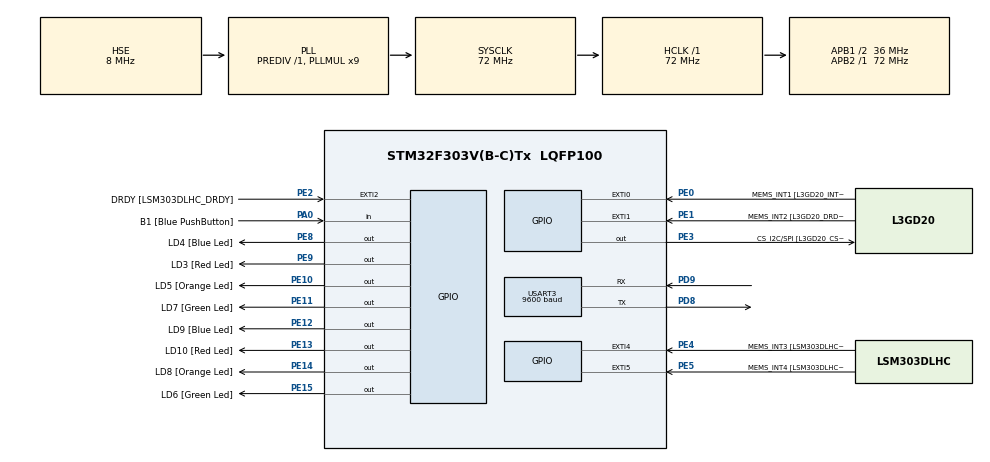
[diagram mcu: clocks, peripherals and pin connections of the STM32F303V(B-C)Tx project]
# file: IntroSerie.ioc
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Mcu.Family=STM32F3
Mcu.Name=STM32F303V(B-C)Tx
Mcu.Package=LQFP100
NVIC.PriorityGroup=NVIC_PRIORITYGROUP_0
PA0.GPIO_Label=B1 [Blue PushButton]
PA0.GPIO_Mode=GPIO_MODE_INPUT
PA0.GPIO_PuPd=GPIO_NOPULL
PA0.Signal=GPIO_Input
PA11.GPIO_Label=DM
PA11.Signal=USB_DM
PA12.GPIO_Label=DP
PA12.Signal=USB_DP
PA13.GPIO_Label=SWDIO
PA13.Signal=SYS_JTMS-SWDIO
PA14.GPIO_Label=SWCLK
PA14.Signal=SYS_JTCK-SWCLK
PA5.GPIO_Label=SPI1_SCK [L3GD20_SCL/SPC]
PA5.GPIO_Mode=GPIO_MODE_AF_PP
PA5.GPIO_PuPd=GPIO_NOPULL
PA5.GPIO_Speed=GPIO_SPEED_FREQ_LOW
PA5.Signal=SPI1_SCK
PA6.GPIO_Label=SPI1_MISO [L3GD20_SA0/SDO]
PA6.GPIO_Mode=GPIO_MODE_AF_PP
PA6.GPIO_PuPd=GPIO_NOPULL
PA6.GPIO_Speed=GPIO_SPEED_FREQ_LOW
PA6.Signal=SPI1_MISO
PA7.GPIO_Label=SPI1_MISO [L3GD20_SDA/SDI/SDO]
PA7.GPIO_Mode=GPIO_MODE_AF_PP
PA7.GPIO_PuPd=GPIO_NOPULL
PA7.GPIO_Speed=GPIO_SPEED_FREQ_LOW
PA7.Signal=SPI1_MOSI
PB3.GPIO_Label=SWO
PB3.Signal=SYS_JTDO-TRACESWO
PB6.GPIO_FM6=__NULL
PB6.GPIO_Label=I2C1_SCL [LSM303DLHC_SCL]
PB6.GPIO_Mode=GPIO_MODE_AF_OD
PB6.GPIO_PuPd=GPIO_NOPULL
PB6.GPIO_Speed=GPIO_SPEED_FREQ_LOW
PB6.Signal=I2C1_SCL
PB7.GPIO_FM7=__NULL
PB7.GPIO_Label=I2C1_SDA [LSM303DLHC_SDA]
PB7.GPIO_Mode=GPIO_MODE_AF_OD
PB7.GPIO_PuPd=GPIO_NOPULL
PB7.GPIO_Speed=GPIO_SPEED_FREQ_LOW
PB7.Signal=I2C1_SDA
PC14-OSC32_IN.GPIO_Label=OSC32_IN
PC14-OSC32_IN.Signal=RCC_OSC32_IN
PC15-OSC32_OUT.GPIO_Label=OSC32_OUT
PC15-OSC32_OUT.Signal=RCC_OSC32_OUT
PD8.Mode=Asynchronous
PD8.Signal=USART3_TX
PD9.Mode=Asynchronous
PD9.Signal=USART3_RX
PE0.GPIO_Label=MEMS_INT1 [L3GD20_INT1]
PE0.GPIO_ModeDefaultEXTI=GPIO_MODE_EVT_RISING
PE0.GPIO_PuPd=GPIO_NOPULL
PE0.Signal=GPXTI0
PE1.GPIO_Label=MEMS_INT2 [L3GD20_DRDY/INT2]
PE1.GPIO_ModeDefaultEXTI=GPIO_MODE_EVT_RISING
PE1.GPIO_PuPd=GPIO_NOPULL
PE1.Signal=GPXTI1
PE10.GPIO_Label=LD5 [Orange Led]
PE10.GPIO_ModeDefaultOutputPP=GPIO_MODE_OUTPUT_PP
PE10.GPIO_PuPd=GPIO_NOPULL
PE10.GPIO_Speed=GPIO_SPEED_FREQ_LOW
PE10.Signal=GPIO_Output
PE11.GPIO_Label=LD7 [Green Led]
PE11.GPIO_ModeDefaultOutputPP=GPIO_MODE_OUTPUT_PP
PE11.GPIO_PuPd=GPIO_NOPULL
PE11.GPIO_Speed=GPIO_SPEED_FREQ_LOW
PE11.Signal=GPIO_Output
PE12.GPIO_Label=LD9 [Blue Led]
PE12.GPIO_ModeDefaultOutputPP=GPIO_MODE_OUTPUT_PP
PE12.GPIO_PuPd=GPIO_NOPULL
PE12.GPIO_Speed=GPIO_SPEED_FREQ_LOW
PE12.Signal=GPIO_Output
PE13.GPIO_Label=LD10 [Red Led]
PE13.GPIO_ModeDefaultOutputPP=GPIO_MODE_OUTPUT_PP
PE13.GPIO_PuPd=GPIO_NOPULL
PE13.GPIO_Speed=GPIO_SPEED_FREQ_LOW
PE13.Signal=GPIO_Output
PE14.GPIO_Label=LD8 [Orange Led]
PE14.GPIO_ModeDefaultOutputPP=GPIO_MODE_OUTPUT_PP
PE14.GPIO_PuPd=GPIO_NOPULL
PE14.GPIO_Speed=GPIO_SPEED_FREQ_LOW
PE14.Signal=GPIO_Output
PE15.GPIO_Label=LD6 [Green Led]
PE15.GPIO_ModeDefaultOutputPP=GPIO_MODE_OUTPUT_PP
PE15.GPIO_PuPd=GPIO_NOPULL
PE15.GPIO_Speed=GPIO_SPEED_FREQ_LOW
PE15.Signal=GPIO_Output
PE2.GPIO_Label=DRDY [LSM303DLHC_DRDY]
PE2.GPIO_ModeDefaultEXTI=GPIO_MODE_EVT_RISING
PE2.GPIO_PuPd=GPIO_NOPULL
PE2.Signal=GPXTI2
PE3.GPIO_Label=CS_I2C/SPI [L3GD20_CS_I2C/SPI]
PE3.GPIO_ModeDefaultOutputPP=GPIO_MODE_OUTPUT_PP
PE3.GPIO_PuPd=GPIO_NOPULL
PE3.GPIO_Speed=GPIO_SPEED_FREQ_LOW
PE3.Signal=GPIO_Output
PE4.GPIO_Label=MEMS_INT3 [LSM303DLHC_INT1]
PE4.GPIO_ModeDefaultEXTI=GPIO_MODE_EVT_RISING
PE4.GPIO_PuPd=GPIO_NOPULL
PE4.Signal=GPXTI4
PE5.GPIO_Label=MEMS_INT4 [LSM303DLHC_INT2]
PE5.GPIO_ModeDefaultEXTI=GPIO_MODE_EVT_RISING
PE5.GPIO_PuPd=GPIO_NOPULL
PE5.Signal=GPXTI5
PE8.GPIO_Label=LD4 [Blue Led]
PE8.GPIO_ModeDefaultOutputPP=GPIO_MODE_OUTPUT_PP
PE8.GPIO_PuPd=GPIO_NOPULL
PE8.GPIO_Speed=GPIO_SPEED_FREQ_LOW
PE8.Signal=GPIO_Output
PE9.GPIO_Label=LD3 [Red Led]
PE9.GPIO_ModeDefaultOutputPP=GPIO_MODE_OUTPUT_PP
PE9.GPIO_PuPd=GPIO_NOPULL
PE9.GPIO_Speed=GPIO_SPEED_FREQ_LOW
PE9.Signal=GPIO_Output
PF0-OSC_IN.Mode=HSE-External-Oscillator
PF0-OSC_IN.Signal=RCC_OSC_IN
PF1-OSC_OUT.GPIO_Label=OSC_OUT
PF1-OSC_OUT.Mode=HSE-External-Oscillator
PF1-OSC_OUT.Signal=RCC_OSC_OUT
ProjectManager.HeapSize=0x200
ProjectManager.StackSize=0x400
ProjectManager.TargetToolchain=EWARM
RCC.AHBFreq_Value=72000000
RCC.APB1CLKDivider=RCC_HCLK_DIV2
RCC.APB1Freq_Value=36000000
RCC.APB1TimFreq_Value=72000000
RCC.APB2Freq_Value=72000000
RCC.APB2TimFreq_Value=72000000
RCC.CortexFreq_Value=72000000
RCC.HCLKFreq_Value=72000000
RCC.HSE_VALUE=8000000
RCC.HSIState=RCC_HSI_ON
RCC.HSI_VALUE=8000000
RCC.LSE_VALUE=32768
RCC.PLLMUL=RCC_PLL_MUL9
RCC.PLLSourceVirtual=RCC_PLLSOURCE_HSE
RCC.SYSCLKFreq_VALUE=72000000
RCC.SYSCLKSourceVirtual=RCC_SYSCLKSOURCE_PLLCLK
RCC.USBFreq_Value=72000000
USART3.BaudRate=9600
board=STM32F3DISCOVERY

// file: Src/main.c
/**
  ******************************************************************************
  * File Name          : main.c
  * Description        : Main program body
  ******************************************************************************
  *
  * COPYRIGHT(c) 2017 STMicroelectronics
  *
  * Redistribution and use in source and binary forms, with or without modification,
  * are permitted provided that the following conditions are met:
  *   1. Redistributions of source code must retain the above copyright notice,
  *      this list of conditions and the following disclaimer.
  *   2. Redistributions in binary form must reproduce the above copyright notice,
  *      this list of conditions and the following disclaimer in the documentation
  *      and/or other materials provided with the distribution.
  *   3. Neither the name of STMicroelectronics nor the names of its contributors
  *      may be used to endorse or promote products derived from this software
  *      without specific prior written permission.
  *
  * THIS SOFTWARE IS PROVIDED BY THE COPYRIGHT HOLDERS AND CONTRIBUTORS "AS IS"
  * AND ANY EXPRESS OR IMPLIED WARRANTIES, INCLUDING, BUT NOT LIMITED TO, THE
  * IMPLIED WARRANTIES OF MERCHANT      ABILITY AND FITNESS FOR A PARTICULAR PURPOSE ARE
  * DISCLAIMED. IN NO EVENT SHALL THE COPYRIGHT HOLDER OR CONTRIBUTORS BE LIABLE
  * FOR ANY DIRECT, INDIRECT, INCIDENTAL, SPECIAL, EXEMPLARY, OR CONSEQUENTIAL
  * DAMAGES (INCLUDING, BUT NOT LIMITED TO, PROCUREMENT OF SUBSTITUTE GOODS OR
  * SERVICES; LOSS OF USE, DATA, OR PROFITS; OR BUSINESS INTERRUPTION) HOWEVER
  * CAUSED AND ON ANY THEORY OF LIABILITY, WHETHER IN CONTRACT, STRICT LIABILITY,
  * OR TORT (INCLUDING NEGLIGENCE OR OTHERWISE) ARISING IN ANY WAY OUT OF THE USE
  * OF THIS SOFTWARE, EVEN IF ADVISED OF THE POSSIBILITY OF SUCH DAMAGE.
  *
  ******************************************************************************
  */
#include "main.h"
#include "stm32f3xx_hal.h"
#include "usart.h"
#include "gpio.h"

#define BUFFERSIZE 22
ITStatus UartReady = RESET;
  /* Size of Transmission buffer */

/* USER CODE BEGIN PV */
/* Private variables ---------------------------------------------------------*/

/* USER CODE END PV */

void SystemClock_Config(void);
void Error_Handler(void);

/* USER CODE BEGIN PFP */
/* Private function prototypes -----------------------------------------------*/

/* USER CODE END PFP */

/* USER CODE BEGIN 0 */

/**
* @brief Tx Transfer completed callback
* @param UartHandle: UART handle.
* @note This example shows a simple way to report end of IT Tx transfer, and
* you can add your own implementation.
* @retval None
*/
void HAL_UART_TxCpltCallback(UART_HandleTypeDef *UartHandle)
{
 /* Set transmission flag: transfer complete*/
 UartReady = SET;

}
/**
* @brief Rx Transfer completed callback
* @param UartHandle: UART handle
* @note This example shows a simple way to report end of IT Rx transfer, and
* you can add your own implementation.
* @retval None
*/
void HAL_UART_RxCpltCallback(UART_HandleTypeDef *UartHandle)
{
 /* Set transmission flag: trasfer complete*/
 UartReady = SET;

}

/* USER CODE END 0 */

int main(void)
{

  /* USER CODE BEGIN 1 */
  uint8_t Tecken;
  char *hello = "Hello world!\n\r";
  uint8_t Buffer[] = "Hello World interrupt!";
  /* USER CODE END 1 */

  /* MCU Configuration----------------------------------------------------------*/

  /* Reset of all peripherals, Initializes the Flash interface and the Systick. */
  HAL_Init();

  /* Configure the system clock */
  SystemClock_Config();

  /* Initialize all configured peripherals */
  MX_GPIO_Init();
  MX_USART3_UART_Init();

  /* USER CODE BEGIN 2 */
  HAL_UART_Transmit(&huart3,(uint8_t*)hello,strlen(hello),5000);

  /* USER CODE END 2 */

  /* Infinite loop */
  while (1)
  {
  /* USER CODE BEGIN 3 */
  HAL_UART_Receive(&huart3,&Tecken,1,5000);
  HAL_UART_Transmit(&huart3,&Tecken,1,5000);
  if(HAL_UART_Receive(&huart3,&Tecken,1,5000) != HAL_OK){
    Error_Handler();
  }
  if(HAL_UART_Transmit(&huart3,&Tecken,1,5000) != HAL_OK){
    Error_Handler();
  }

  /* Start the transmission process */
   if(HAL_UART_Transmit_IT(&huart3, (uint8_t *)Buffer, BUFFERSIZE)!= HAL_OK)
  {
  Error_Handler();
  }

  /* Wait for the end of the transfer */
  while (UartReady != SET)
  {
  }
  /* Reset transmission flag */
  UartReady = RESET;

  /* Put UART peripheral in reception process */
  if(HAL_UART_Receive_IT(&huart3, (uint8_t *)Buffer, BUFFERSIZE) != HAL_OK)
  {
  Error_Handler();
  }

  /* Wait for the end of the transfer */
  while (UartReady != SET)
  {
  }

  /* Reset transmission flag */
  UartReady = RESET;

  }
  /* USER CODE END 3 */

}

/** System Clock Configuration
*/
void SystemClock_Config(void)
{

  RCC_OscInitTypeDef RCC_OscInitStruct;
  RCC_ClkInitTypeDef RCC_ClkInitStruct;
  RCC_PeriphCLKInitTypeDef PeriphClkInit;

    /**Initializes the CPU, AHB and APB busses clocks
    */
  RCC_OscInitStruct.OscillatorType = RCC_OSCILLATORTYPE_HSE;
  RCC_OscInitStruct.HSEState = RCC_HSE_ON;
  RCC_OscInitStruct.HSEPredivValue = RCC_HSE_PREDIV_DIV1;
  RCC_OscInitStruct.HSIState = RCC_HSI_ON;
  RCC_OscInitStruct.PLL.PLLState = RCC_PLL_ON;
  RCC_OscInitStruct.PLL.PLLSource = RCC_PLLSOURCE_HSE;
  RCC_OscInitStruct.PLL.PLLMUL = RCC_PLL_MUL9;
  if (HAL_RCC_OscConfig(&RCC_OscInitStruct) != HAL_OK)
  {
    Error_Handler();
  }

    /**Initializes the CPU, AHB and APB busses clocks
    */
  RCC_ClkInitStruct.ClockType = RCC_CLOCKTYPE_HCLK|RCC_CLOCKTYPE_SYSCLK
                              |RCC_CLOCKTYPE_PCLK1|RCC_CLOCKTYPE_PCLK2;
  RCC_ClkInitStruct.SYSCLKSource = RCC_SYSCLKSOURCE_PLLCLK;
  RCC_ClkInitStruct.AHBCLKDivider = RCC_SYSCLK_DIV1;
  RCC_ClkInitStruct.APB1CLKDivider = RCC_HCLK_DIV2;
  RCC_ClkInitStruct.APB2CLKDivider = RCC_HCLK_DIV1;

  if (HAL_RCC_ClockConfig(&RCC_ClkInitStruct, FLASH_LATENCY_2) != HAL_OK)
  {
    Error_Handler();
  }

  PeriphClkInit.PeriphClockSelection = RCC_PERIPHCLK_USART3;
  PeriphClkInit.Usart3ClockSelection = RCC_USART3CLKSOURCE_PCLK1;
  if (HAL_RCCEx_PeriphCLKConfig(&PeriphClkInit) != HAL_OK)
  {
    Error_Handler();
  }

    /**Configure the Systick interrupt time
    */
  HAL_SYSTICK_Config(HAL_RCC_GetHCLKFreq()/1000);

    /**Configure the Systick
    */
  HAL_SYSTICK_CLKSourceConfig(SYSTICK_CLKSOURCE_HCLK);

  /* SysTick_IRQn interrupt configuration */
  HAL_NVIC_SetPriority(SysTick_IRQn, 0, 0);
}

void Error_Handler(void)
{
  /* USER CODE BEGIN Error_Handler */
  HAL_GPIO_WritePin(LD10_GPIO_Port, LD10_Pin, GPIO_PIN_SET);
  /* User can add his own implementation to report the HAL error return state */
  while(1)
  {
  }
  /* USER CODE END Error_Handler */
}

/************************ (C) COPYRIGHT STMicroelectronics *****END OF FILE****/
